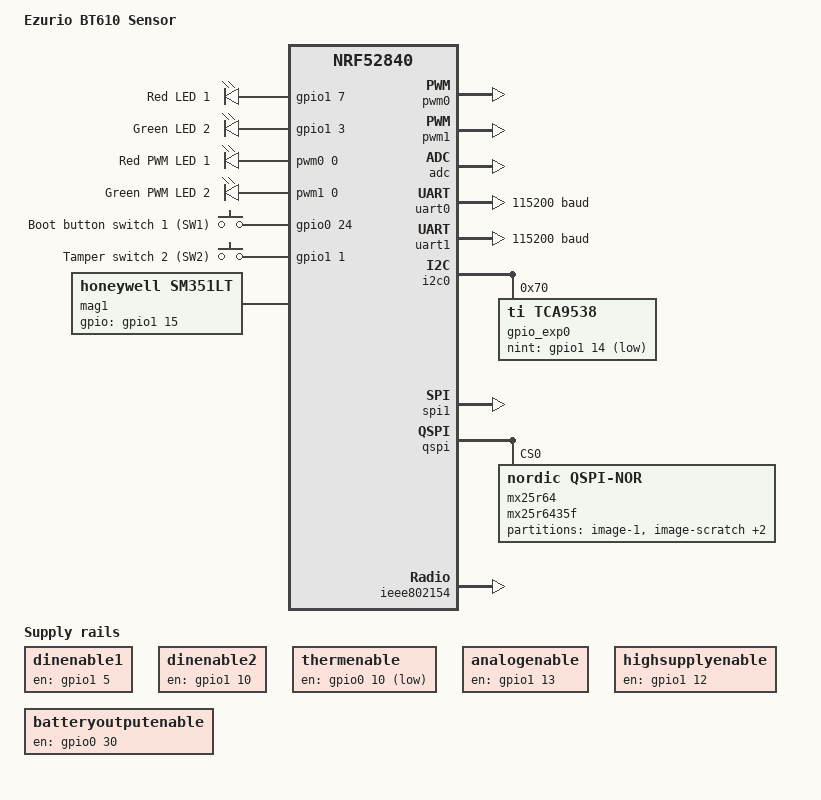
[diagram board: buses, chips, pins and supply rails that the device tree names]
/*
 * Copyright (c) 2021 Laird Connectivity
 * Copyright (c) 2024 Ezurio
 *
 * SPDX-License-Identifier: Apache-2.0
 */

/dts-v1/;
#include <nordic/nrf52840_qiaa.dtsi>
#include "bt610-pinctrl.dtsi"
#include <zephyr/dt-bindings/input/input-event-codes.h>

/ {
	model = "Ezurio BT610 Sensor";
	compatible = "ezurio,bt610";

	chosen {
		zephyr,console = &uart0;
		zephyr,shell-uart = &uart0;
		zephyr,uart-mcumgr = &uart0;
		zephyr,bt-mon-uart = &uart0;
		zephyr,bt-c2h-uart = &uart0;
		zephyr,sram = &sram0;
		zephyr,flash = &flash0;
		zephyr,code-partition = &slot0_partition;
		zephyr,ieee802154 = &ieee802154;
	};

	leds {
		compatible = "gpio-leds";
		led1: led_1 {
			gpios = <&gpio1 7 GPIO_ACTIVE_HIGH>;
			label = "Red LED 1";
		};
		led2: led_2 {
			gpios = <&gpio1 3 GPIO_ACTIVE_HIGH>;
			label = "Green LED 2";
		};
	};

	pwmleds {
		compatible = "pwm-leds";

		led1pwm: led_1_pwm {
			pwms = <&pwm0 0 PWM_MSEC(20) PWM_POLARITY_NORMAL>;
			label = "Red PWM LED 1";
		};

		led2pwm: led_2_pwm {
			pwms = <&pwm1 0 PWM_MSEC(20) PWM_POLARITY_NORMAL>;
			label = "Green PWM LED 2";
		};
	};

	buttons {
		compatible = "gpio-keys";
		button1: button_1 {
			gpios = <&gpio0 24 GPIO_PULL_UP>;
			label = "Boot button switch 1 (SW1)";
			zephyr,code = <INPUT_KEY_0>;
		};
		button2: button_2 {
			gpios = <&gpio1 1 GPIO_PULL_UP>;
			label = "Tamper switch 2 (SW2)";
			zephyr,code = <INPUT_KEY_1>;
		};
	};

	/* These aliases are provided for compatibility with samples */
	aliases {
		led0 = &led1;
		led1 = &led2;
		led0pwm = &led1pwm;
		led1pwm = &led2pwm;
		sw0 = &button1;
		sw1 = &button2;
		sw2 = &mag1;
		mcuboot-button0 = &button1;
		mcuboot-led0 = &led1;
		watchdog0 = &wdt0;
	};

	mag1: mag_1 {
		compatible = "honeywell,sm351lt";
		gpios = <&gpio1 15 GPIO_ACTIVE_HIGH>;
	};

	dinenable1: din_enable_1 {
		compatible = "regulator-fixed";
		regulator-name = "din_enable_1";
		enable-gpios = <&gpio1 5 GPIO_ACTIVE_HIGH>;
	};

	dinenable2: din_enable_2 {
		compatible = "regulator-fixed";
		regulator-name = "din_enable_2";
		enable-gpios = <&gpio1 10 GPIO_ACTIVE_HIGH>;
	};

	thermenable: therm_enable {
		compatible = "regulator-fixed";
		regulator-name = "therm_enable";
		enable-gpios = <&gpio0 10 GPIO_ACTIVE_LOW>;
	};

	analogenable: analog_enable {
		compatible = "regulator-fixed";
		regulator-name = "analog_enable";
		enable-gpios = <&gpio1 13 GPIO_ACTIVE_HIGH>;
	};

	highsupplyenable: high_supply_enable {
		compatible = "regulator-fixed";
		regulator-name = "high_supply_enable";
		enable-gpios = <&gpio1 12 GPIO_ACTIVE_HIGH>;
	};

	batteryoutputenable: battery_output_enable {
		compatible = "regulator-fixed";
		regulator-name = "battery_output_enable";
		enable-gpios = <&gpio0 30 GPIO_ACTIVE_HIGH>;
	};
};

&reg1 {
	regulator-initial-mode = <NRF5X_REG_MODE_DCDC>;
};

&pwm0 {
	status = "okay";
	pinctrl-0 = <&pwm0_default>;
	pinctrl-1 = <&pwm0_sleep>;
	pinctrl-names = "default", "sleep";
};

&pwm1 {
	status = "okay";
	pinctrl-0 = <&pwm1_default>;
	pinctrl-1 = <&pwm1_sleep>;
	pinctrl-names = "default", "sleep";
};

&adc {
	status = "okay";
};

&gpiote {
	status = "okay";
};

&uicr {
	nfct-pins-as-gpios;
	gpio-as-nreset;
};

&gpio0 {
	status = "okay";
};

&gpio1 {
	status = "okay";
};

&uart0 {
	compatible = "nordic,nrf-uarte";
	current-speed = <115200>;
	status = "okay";
	pinctrl-0 = <&uart0_default>;
	pinctrl-1 = <&uart0_sleep>;
	pinctrl-names = "default", "sleep";
};

&uart1 {
	compatible = "nordic,nrf-uarte";
	current-speed = <115200>;
	status = "okay";
	pinctrl-0 = <&uart1_default>;
	pinctrl-1 = <&uart1_sleep>;
	pinctrl-names = "default", "sleep";
};

&i2c0 {
	compatible = "nordic,nrf-twi";
	status = "okay";

	pinctrl-0 = <&i2c0_default>;
	pinctrl-1 = <&i2c0_sleep>;
	pinctrl-names = "default", "sleep";
	gpio_exp0: tca9538@70 {
		compatible = "ti,tca9538";
		reg = <0x70>;
		gpio-controller;
		#gpio-cells = <2>;
		ngpios = <8>;
		nint-gpios = <&gpio1 14 GPIO_ACTIVE_LOW>;
	};
};

&spi1 {
	compatible = "nordic,nrf-spi";
	status = "okay";
	cs-gpios = <&gpio0 25 0>,
		<&gpio0 31 0>;
	pinctrl-0 = <&spi1_default>;
	pinctrl-1 = <&spi1_sleep>;
	pinctrl-names = "default", "sleep";
};

&qspi {
	status = "okay";
	pinctrl-0 = <&qspi_default>;
	pinctrl-1 = <&qspi_sleep>;
	pinctrl-names = "default", "sleep";
	mx25r64: mx25r6435f@0 {
		compatible = "nordic,qspi-nor";
		reg = <0>;
		writeoc = "pp4io";
		readoc = "read4io";
		sck-frequency = <8000000>;
		jedec-id = [c2 28 17];
		sfdp-bfp = [
			e5 20 f1 ff  ff ff ff 03  44 eb 08 6b  08 3b 04 bb
			ee ff ff ff  ff ff 00 ff  ff ff 00 ff  0c 20 0f 52
			10 d8 00 ff  23 72 f5 00  82 ed 04 cc  44 83 68 44
			30 b0 30 b0  f7 c4 d5 5c  00 be 29 ff  f0 d0 ff ff
		];
		size = <67108864>;
		has-dpd;
		t-enter-dpd = <10000>;
		t-exit-dpd = <35000>;
	};
};

&ieee802154 {
	status = "okay";
};

&flash0 {
	partitions {
		compatible = "fixed-partitions";
		#address-cells = <1>;
		#size-cells = <1>;

		/* 96K */
		boot_partition: partition@0 {
			label = "mcuboot";
			reg = <0x00000000 0x00018000>;
		};
		/* 896K */
		slot0_partition: partition@18000 {
			label = "image-0";
			reg = <0x00018000 0x000E0000>;
		};

		/*
		 * The flash starting at 0x000f8000 and ending at
		 * 0x000fffff is reserved for use by the application.
		 */

		/*
		 * Storage partition will be used by FCB/NVS
		 * if enabled. 32K
		 */
		storage_partition: partition@f8000 {
			label = "storage";
			reg = <0x000f8000 0x00008000>;
		};
	};
};

&mx25r64 {
	partitions {
		compatible = "fixed-partitions";
		#address-cells = <1>;
		#size-cells = <1>;

		/* 896K */
		slot1_partition: partition@0 {
			label = "image-1";
			reg = <0x00000000 0x000E0000>;
		};
		/* 16K */
		scratch_partition: partition@E0000 {
			label = "image-scratch";
			reg = <0x000E0000 0x00004000>;
		};
		/* 112K */
		customer_partition: partition@E4000 {
			label = "customer-storage";
			reg = <0x000E4000 0x0001C000>;
		};
		/* 7MB */
		lfs_partition: partition@100000 {
			label = "lfs_storage";
			reg = <0x00100000 0x00700000>;
		};
	};
};
